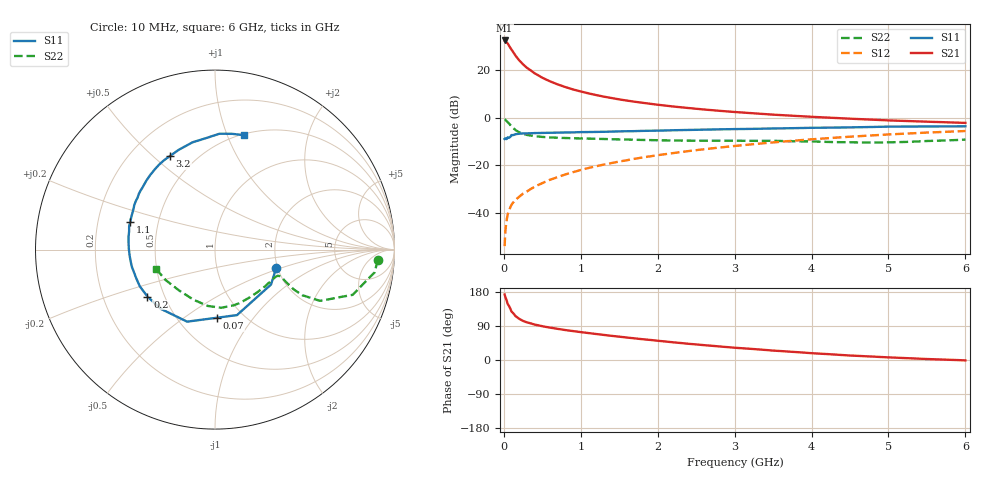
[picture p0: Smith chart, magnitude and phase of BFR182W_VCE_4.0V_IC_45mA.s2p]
! Infineon Technologies  Discrete & RF Semiconductors
! BFR182W
! VCE =  4.0 V,  IC =  45 mA
! Common Emitter S-Parameters:  Jan 2017
# GHz  S  MA  R  50
!  f  S11  S21  S12  S22
! GHz  MAG  ANG  MAG  ANG  MAG  ANG  MAG  ANG
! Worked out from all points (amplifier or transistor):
!   77 points, 10 MHz to 6 GHz, reference 50 ohm
!   highest |S21| = 32.4 dB at 10 MHz (marker M1)
!   |S21| within 3 dB of that: start of sweep to 82.4 MHz
!   unconditionally stable (mu >= 1): 354.3 MHz to 2.41 GHz
!   at 130 MHz: K = 0.65, MSG = 31.2 dB, |S12| = -35.3 dB
!   at 2.2 GHz: K = 1.03, MAG = 8.8 dB, |S12| = -14.9 dB
!   at 6 GHz: K = 0.92, MSG = 1.7 dB, |S12| = -5.6 dB
!   S11 on the Smith chart (normalised r, x): 10 MHz: 1.97, -0.45; 70 MHz: 0.76, -0.68; 200 MHz: 0.40, -0.27; 1.1 GHz: 0.34, +0.14; 3.2 GHz: 0.36, +0.57; 6 GHz: 0.51, +1.14
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0.01  0.3563 -16.4  41.61 172.8  0.002 80.3  0.9087 -3.6
0.02  0.3678 -32.0  41.1 166.2  0.0042 81.6  0.8984 -8.1
0.05  0.3849 -71.4  35.88 148.0  0.0093 67.9  0.8071 -18.2
0.07  0.3797 -88.2  31.75 141.3  0.0115 65.5  0.7432 -20.9
0.1  0.4304 -111.1  26.65 127.8  0.0148 63.3  0.6512 -26.0
0.15  0.4476 -132.5  20.13 116.1  0.0187 60.8  0.5488 -27.6
0.2  0.4583 -145.2  15.91 108.6  0.0218 61.2  0.4912 -26.8
0.25  0.466 -153.9  13.11 103.1  0.0254 63.3  0.4561 -25.5
0.3  0.467 -160.0  11.09 99.3  0.0281 64.5  0.4326 -24.4
0.4  0.4734 -168.8  8.502 93.4  0.0353 69.3  0.4068 -22.9
0.5  0.4766 -175.5  6.861 89.1  0.0421 70.5  0.393 -22.4
0.6  0.4802 179.4  5.771 85.4  0.0496 72.0  0.3837 -22.4
0.7  0.4831 175.4  4.971 82.2  0.0563 73.6  0.3772 -22.8
0.9  0.4892 168.0  3.894 76.3  0.0715 74.2  0.3687 -24.7
1.1  0.4973 161.7  3.227 71.1  0.0875 74.8  0.3621 -27.4
1.5  0.5139 151.0  2.412 61.6  0.1195 74.4  0.3483 -34.2
2.1  0.5368 137.0  1.785 48.8  0.171 71.1  0.3323 -47.8
3.1  0.576 117.4  1.278 31.0  0.2629 63.0  0.3259 -74.1
3.2  0.5789 115.6  1.245 29.6  0.2724 62.1  0.325 -76.5
4.1  0.6124 100.4  1.02 16.8  0.3589 52.9  0.3121 -100.2
5.1  0.6467 86.5  0.862 6.1  0.4507 41.3  0.3047 -134.7
6  0.6569 76.0  0.774 -1.0  0.5226 30.7  0.3452 -161.6
